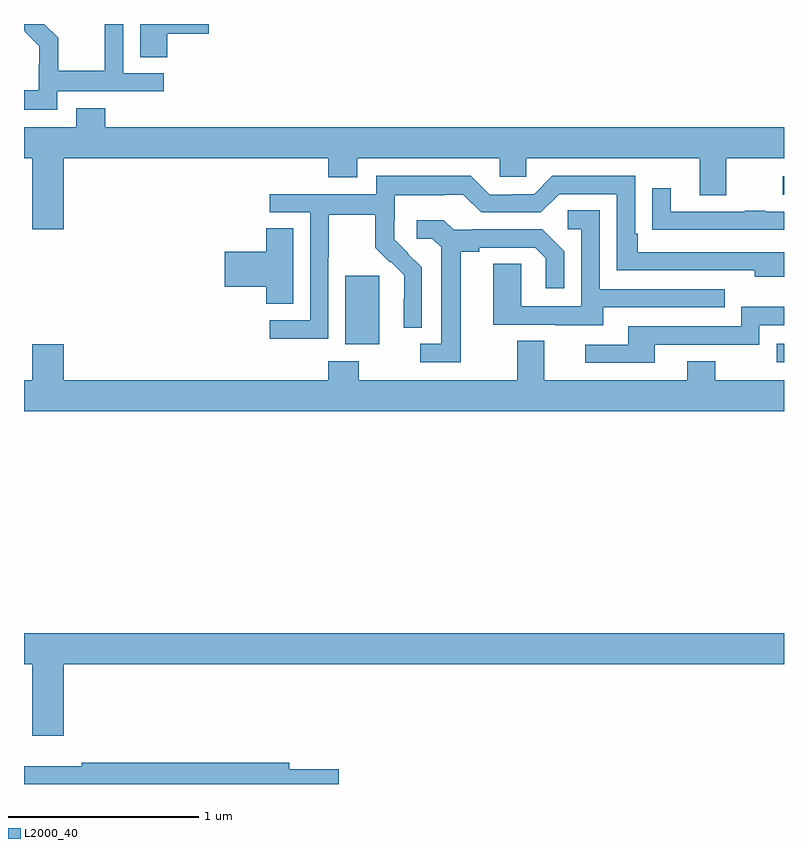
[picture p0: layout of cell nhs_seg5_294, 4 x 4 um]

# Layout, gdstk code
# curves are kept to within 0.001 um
import gdstk
lib = gdstk.Library(unit=1e-6, precision=1e-09)
def R(c, l, rs):  # rectangles x0, y0, x1, y1
    for r in rs: c.add(gdstk.rectangle(r[:2], r[2:], *l))
def P(c, l, *ps):  # polygons
    for p in ps: c.add(gdstk.Polygon(p, *l))
L2000_40 = (2000, 40)

nhs_seg5_294 = lib.new_cell('nhs_seg5_294')
R(nhs_seg5_294, L2000_40, [(132.963,857.019,133,857.115), (130.691,857.114,130.87,857.475), (132.993,857.901,133,857.997)])
P(nhs_seg5_294, L2000_40, [(129.755,858.749),(129.973,858.749),(129.973,858.799),(129.611,858.799),(129.611,858.625),(129.755,858.625)],
  [(129.174,858.444),(129.736,858.444),(129.736,858.54),(129.522,858.54),(129.522,858.799),(129.426,858.799),(129.426,858.776),(129.424,858.776),(129.424,858.553),(129.179,858.553),(129.179,858.727),(129.107,858.799),(129,858.799),(129,858.764),(129.007,858.757),(129.006,858.756),(129.08,858.682),(129.08,858.585),(129.078,858.585),(129.078,858.451),(129,858.451),(129,858.347),(129.174,858.347)],
  [(129.208,858.092),(130.601,858.092),(130.601,857.993),(130.753,857.993),(130.753,858.092),(131.505,858.092),(131.505,857.994),(131.643,857.994),(131.643,858.092),(132.557,858.092),(132.557,857.898),(132.697,857.898),(132.697,858.092),(133,858.092),(133,858.256),(129.428,858.256),(129.428,858.355),(129.275,858.355),(129.275,858.256),(129,858.256),(129,858.092),(129.044,858.092),(129.044,857.718),(129.208,857.718)],
  [(130.602,857.572),(130.605,857.572),(130.605,857.796),(130.849,857.796),(130.849,857.621),(130.926,857.544),(130.929,857.547),(131,857.477),(131,857.354),(130.998,857.354),(130.998,857.2),(131.094,857.2),(131.094,857.518),(130.948,857.666),(130.948,857.763),(130.95,857.763),(130.95,857.897),(131.213,857.897),(131.213,857.901),(131.313,857.901),(131.406,857.808),(131.721,857.808),(131.817,857.904),(132.12,857.904),(132.12,857.502),(132.845,857.502),(132.845,857.468),(133,857.468),(133,857.598),(132.229,857.598),(132.229,857.695),(132.216,857.695),(132.216,858),(131.781,858),(131.685,857.904),(131.567,857.904),(131.567,857.901),(131.451,857.901),(131.351,858.001),(130.854,858.001),(130.854,857.904),(130.293,857.904),(130.293,857.808),(130.506,857.808),(130.506,857.241),(130.293,857.241),(130.293,857.143),(130.602,857.143)],
  [(133,857.811),(132.905,857.811),(132.905,857.816),(132.793,857.816),(132.793,857.811),(132.403,857.811),(132.403,857.935),(132.307,857.935),(132.307,857.716),(132.409,857.716),(132.409,857.715),(133,857.715)],
  [(132.049,857.307),(132.689,857.307),(132.689,857.403),(132.03,857.403),(132.03,857.819),(131.862,857.819),(131.862,857.718),(131.934,857.718),(131.934,857.313),(131.616,857.313),(131.616,857.537),(131.471,857.537),(131.471,857.217),(131.795,857.217),(131.795,857.213),(132.049,857.213)],
  [(131.299,857.6),(131.395,857.6),(131.395,857.622),(131.69,857.622),(131.747,857.565),(131.747,857.409),(131.844,857.409),(131.844,857.602),(131.728,857.718),(131.356,857.718),(131.356,857.715),(131.262,857.715),(131.21,857.767),(131.067,857.767),(131.067,857.67),(131.148,857.67),(131.195,857.623),(131.195,857.115),(131.085,857.115),(131.085,857.019),(131.299,857.019)],
  [(130.417,857.723),(130.274,857.723),(130.274,857.6),(130.056,857.6),(130.056,857.417),(130.274,857.417),(130.274,857.326),(130.417,857.326)],
  [(132.319,857.112),(132.87,857.112),(132.87,857.214),(133,857.214),(133,857.311),(132.774,857.311),(132.774,857.208),(132.179,857.208),(132.179,857.112),(131.955,857.112),(131.955,857.016),(132.319,857.016)],
  [(133,856.924),(132.639,856.924),(132.639,857.023),(132.491,857.023),(132.491,856.924),(131.737,856.924),(131.737,857.132),(131.597,857.132),(131.597,856.924),(130.761,856.924),(130.761,857.023),(130.601,857.023),(130.601,856.924),(129.208,856.924),(129.208,857.113),(129.044,857.113),(129.044,856.924),(129,856.924),(129,856.76),(133,856.76)],
  [(129.208,855.428),(133,855.428),(133,855.592),(129,855.592),(129,855.428),(129.044,855.428),(129.044,855.054),(129.208,855.054)],
  [(130.657,854.876),(130.396,854.876),(130.396,854.912),(129.304,854.912),(129.304,854.893),(129,854.893),(129,854.799),(130.657,854.799)])

lib.write_gds('nhs_seg5_294.gds')
